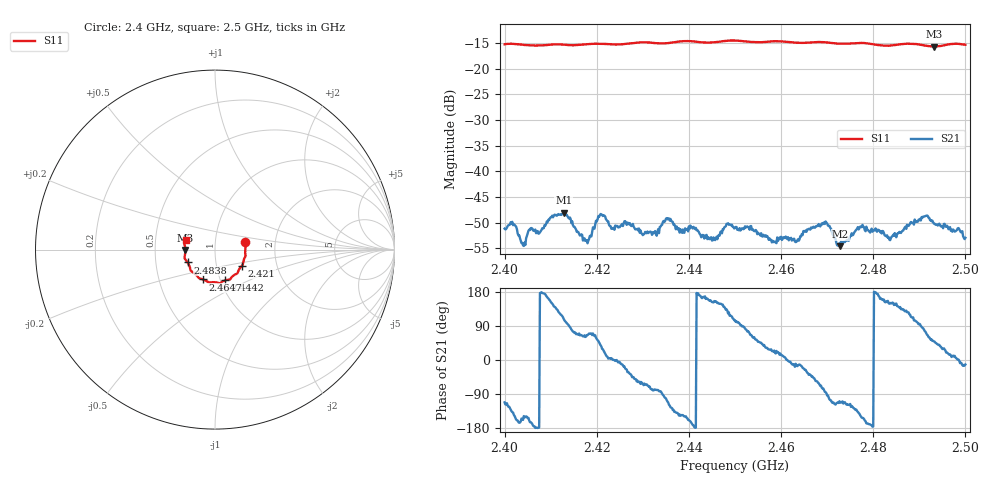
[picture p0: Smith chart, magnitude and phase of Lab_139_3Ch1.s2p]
# Hz S RI R 50
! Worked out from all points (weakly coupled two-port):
!   601 points, 2.4 GHz to 2.5 GHz, reference 50 ohm
!   highest |S21| = -48.07 dB at 2.4128 GHz (marker M1); lowest = -54.6 dB at 2.4728 GHz (marker M2)
!   lowest |S11| = -15.6 dB at 2.4932 GHz (marker M3), VSWR 1.40, Z = 35.8 - j0.111 ohm
!   |S11| at or under -10 dB: start of sweep to end of sweep
!   S12 and S22 are empty: the file has one direction only
!   S11 on the Smith chart (normalised r, x): 2.4 GHz: 1.40, +0.12; 2.421 GHz: 1.33, -0.24; 2.4442 GHz: 1.05, -0.37; 2.4647 GHz: 0.83, -0.28; 2.4838 GHz: 0.73, -0.11; 2.5 GHz: 0.71, +0.08
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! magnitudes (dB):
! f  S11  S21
! 2.4 GHz  -15.2  -51.2
! 2.4018 GHz  -15.1  -50.5
! 2.404 GHz  -15.3  -54.4
! 2.4128 GHz  -15.3  -48.1
! 2.4167 GHz  -15.3  -52.3
! 2.4183 GHz  -15.2  -53.2
! 2.421 GHz  -15.1  -48.4
! 2.4333 GHz  -15.0  -51.3
! 2.4355 GHz  -15.0  -49.2
! 2.4442 GHz  -14.9  -52.8
! 2.45 GHz  -14.5  -51.0
! 2.4585 GHz  -14.6  -53.7
! 2.4647 GHz  -14.9  -52.4
! 2.4667 GHz  -14.8  -51.1
! 2.4697 GHz  -14.8  -49.8
! 2.4728 GHz  -15.1  -54.6
! 2.4775 GHz  -14.9  -50.9
! 2.4833 GHz  -15.5  -52.8
! 2.4838 GHz  -15.5  -53.0
! 2.491 GHz  -15.4  -48.8
! 2.4932 GHz  -15.6  -50.2
! 2.5 GHz  -15.3  -53.0
